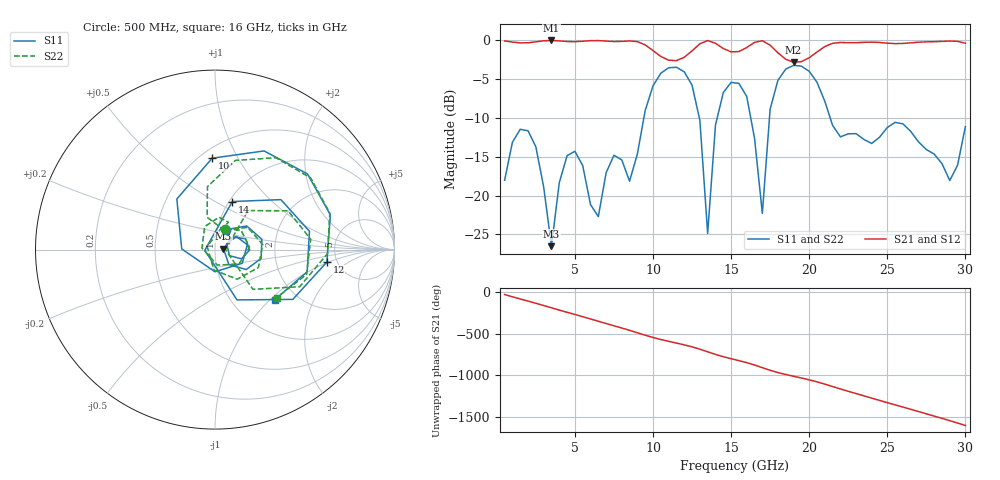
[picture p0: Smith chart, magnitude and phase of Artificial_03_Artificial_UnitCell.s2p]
! Touchstone file exported from HFSS 2021.2.0
!  File:  C:/Users/pmena/AData/NRAO/Modelling/HFSS/Artificial/Artificial.aedt
!  Generated:  4:21:09 PM  Feb 23, 2023
!  Design:  03_Artificial_UnitCell
!  Project:  Artificial
!  Setup:  Setup1
!  Solution:  Sweep
! Variables:
!  $Tc = 14.7
!  $l0NTN = 314.642654451045nm
!  $l0nm = 314.642654451045
!  $rn = 132
!  L1 = 440um
!  L2 = 884um
!  L3 = 804um
!  L4 = 372um
!  N1 = 110
!  N2 = 221
!  N3 = 201
!  N4 = 93
!  Wl = 35um
!  Wu = 19um
!  Zp = 50ohm
!  g = 1um
!  ha = 140um
!  hd = 140um
!  hp = 70um
!  lH = 1um
!  lL = 1um
!  la = 3140um
!  ld = 3140um
!  lext = 0
!  ll1 = 160um
!  ll2 = 160um
!  ll3 = 320um
!  ls = 3140um
!  lu = 4um
!  nn1 = 40
!  nn2 = 40
!  nn3 = 80
!  nu = 30
!  ts = 60nm
!  wH = 1um
!  wa = 280um
!  wd = 280um
!  wp = 140um
# GHz S MA R 50.000000
! Terminal data exported
! Port[1] = 1
! Port[2] = 2
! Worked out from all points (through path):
!   60 points, 500 MHz to 30 GHz, reference 50 ohm
!   highest |S21| = -0.01 dB at 3.5 GHz (marker M1); lowest = -2.8 dB at 19 GHz (marker M2)
!   lowest |S11| = -26.5 dB at 3.5 GHz (marker M3), VSWR 1.10, Z = 54.9 + j0.559 ohm
!   |S11| at or under -10 dB: start of sweep to 9.415 GHz; 12.97 GHz to 14.11 GHz (1.141 GHz wide, 8.42 % of centre); 21.35 GHz to end of sweep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
!   |S22| runs from -26.5 to -3.2 dB; largest |S21 - S12| = 2.5e-08
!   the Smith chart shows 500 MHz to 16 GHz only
!   S11 on the Smith chart (normalised r, x): 500 MHz: 1.10, +0.25; 10 GHz: 0.57, +0.79; 12 GHz: 4.14, -0.95; 14 GHz: 1.04, +0.60; 16 GHz: 1.55, -1.07
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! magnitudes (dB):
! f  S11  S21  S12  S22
! 500 MHz  -18.0  -0.1  -0.1  -18.0
! 2 GHz  -11.6  -0.3  -0.3  -11.6
! 3.5 GHz  -26.5  0.0  0.0  -26.5
! 4.5 GHz  -14.9  -0.1  -0.1  -14.9
! 5.5 GHz  -16.1  -0.1  -0.1  -16.1
! 6.5 GHz  -22.7  0.0  0.0  -22.7
! 10 GHz  -5.9  -1.3  -1.3  -5.9
! 10.5 GHz  -4.2  -2.1  -2.1  -4.2
! 12 GHz  -4.1  -2.2  -2.2  -4.1
! 13 GHz  -10.3  -0.4  -0.4  -10.3
! 13.5 GHz  -24.9  0.0  0.0  -24.7
! 14 GHz  -10.9  -0.4  -0.4  -10.9
! 15.5 GHz  -5.5  -1.4  -1.4  -5.5
! 16 GHz  -7.2  -0.9  -0.9  -7.2
! 17 GHz  -22.3  0.0  0.0  -22.2
! 17.5 GHz  -8.8  -0.6  -0.6  -8.8
! 19 GHz  -3.2  -2.8  -2.8  -3.2
! 20.5 GHz  -5.4  -1.5  -1.5  -5.4
! 22 GHz  -12.4  -0.3  -0.3  -12.5
! 25.5 GHz  -10.6  -0.4  -0.4  -10.5
! 29 GHz  -18.1  -0.1  -0.1  -18.1
! 30 GHz  -11.1  -0.4  -0.4  -11.1
